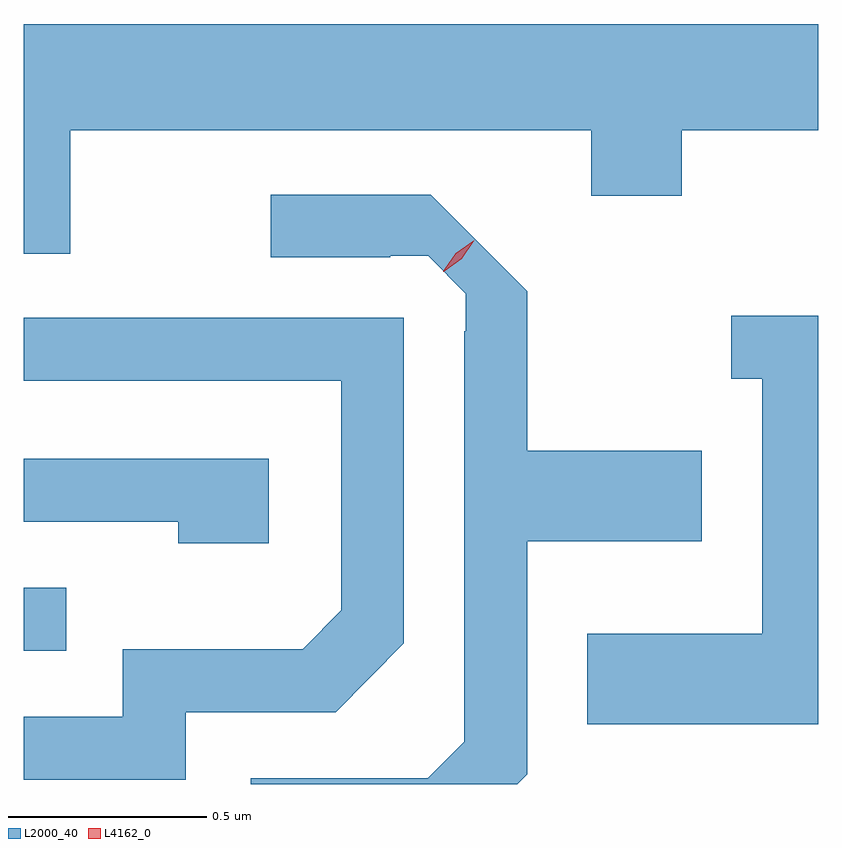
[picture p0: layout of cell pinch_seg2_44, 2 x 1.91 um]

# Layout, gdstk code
import gdstk
lib = gdstk.Library(unit=1e-6, precision=1e-09)
def R(c, l, rs):  # rectangles x0, y0, x1, y1
    for r in rs: c.add(gdstk.rectangle(r[:2], r[2:], *l))
def P(c, l, *ps):  # polygons
    for p in ps: c.add(gdstk.Polygon(p, *l))
L2000_40 = (2000, 40)
L4162_0 = (4162, 0)

pinch_seg2_44 = lib.new_cell('pinch_seg2_44')
R(pinch_seg2_44, L2000_40, [(1103.862,1113.606,1103.968,1113.764)])
P(pinch_seg2_44, L2000_40, [(1103.979,1114.916),(1105.291,1114.916),(1105.291,1114.751),(1105.519,1114.751),(1105.519,1114.916),(1105.862,1114.916),(1105.862,1115.184),(1103.862,1115.184),(1103.862,1114.606),(1103.979,1114.606)],
  [(1105.129,1113.294),(1105.129,1113.881),(1105.569,1113.881),(1105.569,1114.109),(1105.129,1114.109),(1105.129,1114.511),(1104.886,1114.754),(1104.483,1114.754),(1104.483,1114.596),(1104.785,1114.596),(1104.785,1114.6),(1104.88,1114.6),(1104.975,1114.505),(1104.975,1114.41),(1104.971,1114.41),(1104.971,1113.377),(1104.879,1113.284),(1104.433,1113.284),(1104.433,1113.27),(1105.105,1113.27)],
  [(1105.862,1114.449),(1105.643,1114.449),(1105.643,1114.291),(1105.721,1114.291),(1105.721,1113.649),(1105.281,1113.649),(1105.281,1113.421),(1105.862,1113.421)],
  [(1104.269,1113.451),(1104.647,1113.451),(1104.819,1113.624),(1104.819,1114.444),(1103.862,1114.444),(1103.862,1114.286),(1104.661,1114.286),(1104.661,1113.707),(1104.564,1113.609),(1104.111,1113.609),(1104.111,1113.439),(1103.862,1113.439),(1103.862,1113.281),(1104.269,1113.281)],
  [(1104.479,1114.089),(1103.862,1114.089),(1103.862,1113.931),(1104.251,1113.931),(1104.251,1113.876),(1104.479,1113.876)])
P(pinch_seg2_44, L4162_0, [(1104.918,1114.56),(1104.918,1114.561),(1104.95,1114.607),(1104.996,1114.639),(1104.996,1114.639),(1104.996,1114.639),(1104.964,1114.593),(1104.919,1114.56)],
  [(1104.921,1114.564),(1104.921,1114.565),(1104.95,1114.607),(1104.993,1114.636),(1104.994,1114.636),(1104.994,1114.636),(1104.965,1114.593),(1104.922,1114.564)])

lib.write_gds('pinch_seg2_44.gds')
